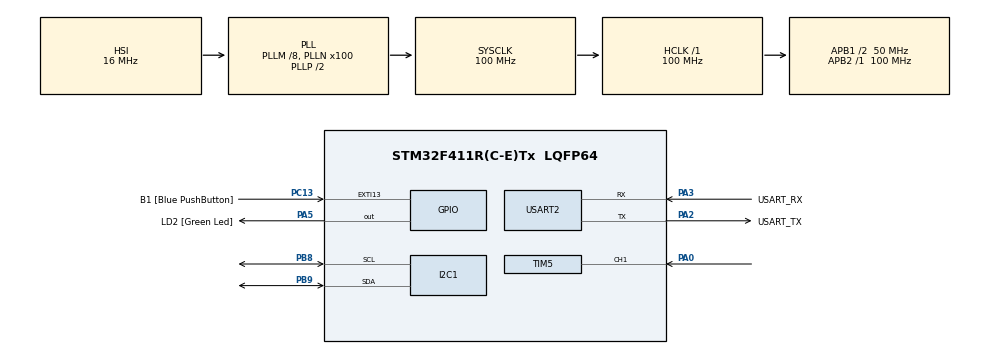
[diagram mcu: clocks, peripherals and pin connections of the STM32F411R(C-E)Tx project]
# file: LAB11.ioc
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Mcu.Family=STM32F4
PC15-OSC32_OUT.Mode=LSE-External-Oscillator
VP_TIM5_VS_ClockSourceINT.Mode=Internal
RCC.CortexFreq_Value=100000000
NVIC.I2C1_EV_IRQn=true\:0\:0\:false\:false\:true\:true\:true
PC13-ANTI_TAMP.GPIO_Label=B1 [Blue PushButton]
PA14.GPIO_Label=TCK
PH1\ -\ OSC_OUT.Mode=HSE-External-Clock-Source
RCC.APB1CLKDivider=RCC_HCLK_DIV2
PC14-OSC32_IN.Signal=RCC_OSC32_IN
RCC.SYSCLKSource=RCC_SYSCLKSOURCE_PLLCLK
ProjectManager.StackSize=0x400
PA0-WKUP.Signal=S_TIM5_CH1
PA13.Signal=SYS_JTMS-SWDIO
PA3.Mode=Asynchronous
PH0\ -\ OSC_IN.Mode=HSE-External-Clock-Source
PH0\ -\ OSC_IN.Signal=RCC_OSC_IN
ProjectManager.TargetToolchain=STM32CubeIDE
NVIC.TIM5_IRQn=true\:0\:0\:false\:false\:true\:true\:true
I2C1.I2C_Mode=I2C_Fast
RCC.HCLKFreq_Value=100000000
PB9.Mode=I2C
RCC.APB2TimFreq_Value=100000000
I2C1.AddressingMode=I2C_ADDRESSINGMODE_7BIT
PC15-OSC32_OUT.Signal=RCC_OSC32_OUT
RCC.AHBFreq_Value=100000000
PA5.Signal=GPIO_Output
RCC.HSE_VALUE=8000000
PH1\ -\ OSC_OUT.Signal=RCC_OSC_OUT
board=NUCLEO-F411RE
PC13-ANTI_TAMP.Signal=GPXTI13
RCC.VCOOutputFreq_Value=200000000
RCC.APB2Freq_Value=100000000
PC14-OSC32_IN.Mode=LSE-External-Oscillator
PA14.Mode=Serial_Wire
PA13.Mode=Serial_Wire
NVIC.I2C1_ER_IRQn=true\:0\:0\:false\:false\:true\:true\:true
TIM5.Channel-Input_Capture1_from_TI1=TIM_CHANNEL_1
Mcu.Name=STM32F411R(C-E)Tx
PA2.Signal=USART2_TX
PA13.GPIO_Label=TMS
RCC.FLatency-AdvancedSettings=FLASH_LATENCY_3
RCC.48MHZClocksFreq_Value=50000000
PB3.Signal=SYS_JTDO-SWO
RCC.SYSCLKFreq_VALUE=100000000
Mcu.Package=LQFP64
PB9.Signal=I2C1_SDA
PA5.GPIO_Label=LD2 [Green Led]
TIM5.Prescaler=99
USART2.VirtualMode=VM_ASYNC
PC13-ANTI_TAMP.GPIO_ModeDefaultEXTI=GPIO_MODE_IT_FALLING
PA2.GPIO_Label=USART_TX
PA14.Signal=SYS_JTCK-SWCLK
ProjectManager.HeapSize=0x200
RCC.HSI_VALUE=16000000
NVIC.PriorityGroup=NVIC_PRIORITYGROUP_0
RCC.PLLM=8
PB8.Mode=I2C
RCC.PLLN=100
RCC.APB1TimFreq_Value=100000000
PA2.Mode=Asynchronous
PB8.Signal=I2C1_SCL
SH.S_TIM5_CH1.0=TIM5_CH1,Input_Capture1_from_TI1
RCC.APB1Freq_Value=50000000
PA3.GPIO_Label=USART_RX
PA3.Signal=USART2_RX
PB3.GPIO_Label=SWO

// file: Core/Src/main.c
/* USER CODE BEGIN Header */
/**
 ******************************************************************************
 * @file           : main.c
 * @brief          : Main program body
 ******************************************************************************
 * @attention
 *
 * <h2><center>&copy; Copyright (c) 2021 STMicroelectronics.
 * All rights reserved.</center></h2>
 *
 * This software component is licensed by ST under BSD 3-Clause license,
 * the "License"; You may not use this file except in compliance with the
 * License. You may obtain a copy of the License at:
 *                        opensource.org/licenses/BSD-3-Clause
 *
 ******************************************************************************
 */
/* USER CODE END Header */
#include "main.h"

/* USER CODE BEGIN PD */
#define EEPROM_ADDR 0b10100000
#define IOEXPD_ADDR 0b01000000
/* USER CODE END PD */

I2C_HandleTypeDef hi2c1;

TIM_HandleTypeDef htim5;

UART_HandleTypeDef huart2;

/* USER CODE BEGIN PV */
uint8_t eepromExampleWriteFlag = 0;
uint8_t eepromExampleReadFlag = 0;
uint8_t IOExpdrExampleWriteFlag = 0;
uint8_t IOExpdrExampleReadFlag = 0;
uint8_t eepromDataReadBack[1];
uint8_t IOExpdrDataReadBack;
uint8_t lastDataReadBack;
uint8_t IOExpdrDataWrite = 0b01010101;

GPIO_PinState User_Button[2];
uint64_t _micros = 0;
uint64_t timestamp = 0;

uint64_t count = 0;
uint8_t number = 0;

/* USER CODE END PV */

void SystemClock_Config(void);
static void MX_GPIO_Init(void);
static void MX_USART2_UART_Init(void);
static void MX_I2C1_Init(void);
static void MX_TIM5_Init(void);
/* USER CODE BEGIN PFP */
void EEPROMWriteExample(uint8_t Wdata);
void EEPROMReadExample(uint8_t *Rdata);

void IOExpenderInit();
void IOExpenderReadPinA(uint8_t *Rdata);
void IOExpenderWritePinB(uint8_t Wdata);

int16_t UARTRecieveIT();
uint64_t micros();

/* USER CODE END PFP */

int main(void)
{

  /* MCU Configuration--------------------------------------------------------*/

  /* Reset of all peripherals, Initializes the Flash interface and the Systick. */
  HAL_Init();

  /* Configure the system clock */
  SystemClock_Config();

  /* Initialize all configured peripherals */
  MX_GPIO_Init();
  MX_USART2_UART_Init();
  MX_I2C1_Init();
  MX_TIM5_Init();
  /* USER CODE BEGIN 2 */
  HAL_Delay(100);
  IOExpenderInit();
  HAL_TIM_Base_Start_IT(&htim5);

  EEPROMReadExample(eepromDataReadBack);
  HAL_Delay(100);
  lastDataReadBack = eepromDataReadBack[0];
  IOExpdrDataReadBack = eepromDataReadBack[0];
  IOExpenderWritePinB(eepromDataReadBack[0]);
  /* USER CODE END 2 */

  /* Infinite loop */
  /* USER CODE BEGIN WHILE */
	while (1)
	{
		if(micros()-timestamp > 100)
		{
			timestamp = micros();
			User_Button[0] = HAL_GPIO_ReadPin(GPIOC, GPIO_PIN_13);
			if(User_Button[1] == GPIO_PIN_SET && User_Button[0] == GPIO_PIN_RESET && number == 0)
			{
				IOExpenderReadPinA(&IOExpdrDataReadBack);
				number += 1;
				HAL_Delay(10);
			}
			else if(hi2c1.State == HAL_I2C_STATE_READY && number == 1)
			{
				IOExpdrDataReadBack = (IOExpdrDataReadBack << 4) | 0b00001111;
				IOExpenderWritePinB(IOExpdrDataReadBack);
				number += 1;
				HAL_Delay(10);
			}
			else if(hi2c1.State == HAL_I2C_STATE_READY && number == 2)
			{
				if(lastDataReadBack != IOExpdrDataReadBack)
				{
					lastDataReadBack = IOExpdrDataReadBack;
					EEPROMWriteExample(IOExpdrDataReadBack);
					count += 1;
					HAL_Delay(10);
				}
				number += 1;
			}
			else if(hi2c1.State == HAL_I2C_STATE_READY && number == 3)
			{
				EEPROMReadExample(eepromDataReadBack);
				number = 0;
				HAL_Delay(10);
			}
			User_Button[1] = User_Button[0];
		}

    /* USER CODE END WHILE */

	}
}

void SystemClock_Config(void)
{
  RCC_OscInitTypeDef RCC_OscInitStruct = {0};
  RCC_ClkInitTypeDef RCC_ClkInitStruct = {0};

  /** Configure the main internal regulator output voltage
  */
  __HAL_RCC_PWR_CLK_ENABLE();
  __HAL_PWR_VOLTAGESCALING_CONFIG(PWR_REGULATOR_VOLTAGE_SCALE1);
  /** Initializes the RCC Oscillators according to the specified parameters
  * in the RCC_OscInitTypeDef structure.
  */
  RCC_OscInitStruct.OscillatorType = RCC_OSCILLATORTYPE_HSI;
  RCC_OscInitStruct.HSIState = RCC_HSI_ON;
  RCC_OscInitStruct.HSICalibrationValue = RCC_HSICALIBRATION_DEFAULT;
  RCC_OscInitStruct.PLL.PLLState = RCC_PLL_ON;
  RCC_OscInitStruct.PLL.PLLSource = RCC_PLLSOURCE_HSI;
  RCC_OscInitStruct.PLL.PLLM = 8;
  RCC_OscInitStruct.PLL.PLLN = 100;
  RCC_OscInitStruct.PLL.PLLP = RCC_PLLP_DIV2;
  RCC_OscInitStruct.PLL.PLLQ = 4;
  if (HAL_RCC_OscConfig(&RCC_OscInitStruct) != HAL_OK)
  {
    Error_Handler();
  }
  /** Initializes the CPU, AHB and APB buses clocks
  */
  RCC_ClkInitStruct.ClockType = RCC_CLOCKTYPE_HCLK|RCC_CLOCKTYPE_SYSCLK
                              |RCC_CLOCKTYPE_PCLK1|RCC_CLOCKTYPE_PCLK2;
  RCC_ClkInitStruct.SYSCLKSource = RCC_SYSCLKSOURCE_PLLCLK;
  RCC_ClkInitStruct.AHBCLKDivider = RCC_SYSCLK_DIV1;
  RCC_ClkInitStruct.APB1CLKDivider = RCC_HCLK_DIV2;
  RCC_ClkInitStruct.APB2CLKDivider = RCC_HCLK_DIV1;

  if (HAL_RCC_ClockConfig(&RCC_ClkInitStruct, FLASH_LATENCY_3) != HAL_OK)
  {
    Error_Handler();
  }
}

static void MX_I2C1_Init(void)
{

  hi2c1.Instance = I2C1;
  hi2c1.Init.ClockSpeed = 400000;
  hi2c1.Init.DutyCycle = I2C_DUTYCYCLE_2;
  hi2c1.Init.OwnAddress1 = 0;
  hi2c1.Init.AddressingMode = I2C_ADDRESSINGMODE_7BIT;
  hi2c1.Init.DualAddressMode = I2C_DUALADDRESS_DISABLE;
  hi2c1.Init.OwnAddress2 = 0;
  hi2c1.Init.GeneralCallMode = I2C_GENERALCALL_DISABLE;
  hi2c1.Init.NoStretchMode = I2C_NOSTRETCH_DISABLE;
  if (HAL_I2C_Init(&hi2c1) != HAL_OK)
  {
    Error_Handler();
  }

}

static void MX_TIM5_Init(void)
{

  TIM_ClockConfigTypeDef sClockSourceConfig = {0};
  TIM_MasterConfigTypeDef sMasterConfig = {0};
  TIM_IC_InitTypeDef sConfigIC = {0};

  htim5.Instance = TIM5;
  htim5.Init.Prescaler = 99;
  htim5.Init.CounterMode = TIM_COUNTERMODE_UP;
  htim5.Init.Period = 4294967295;
  htim5.Init.ClockDivision = TIM_CLOCKDIVISION_DIV1;
  htim5.Init.AutoReloadPreload = TIM_AUTORELOAD_PRELOAD_DISABLE;
  if (HAL_TIM_Base_Init(&htim5) != HAL_OK)
  {
    Error_Handler();
  }
  sClockSourceConfig.ClockSource = TIM_CLOCKSOURCE_INTERNAL;
  if (HAL_TIM_ConfigClockSource(&htim5, &sClockSourceConfig) != HAL_OK)
  {
    Error_Handler();
  }
  if (HAL_TIM_IC_Init(&htim5) != HAL_OK)
  {
    Error_Handler();
  }
  sMasterConfig.MasterOutputTrigger = TIM_TRGO_RESET;
  sMasterConfig.MasterSlaveMode = TIM_MASTERSLAVEMODE_DISABLE;
  if (HAL_TIMEx_MasterConfigSynchronization(&htim5, &sMasterConfig) != HAL_OK)
  {
    Error_Handler();
  }
  sConfigIC.ICPolarity = TIM_INPUTCHANNELPOLARITY_RISING;
  sConfigIC.ICSelection = TIM_ICSELECTION_DIRECTTI;
  sConfigIC.ICPrescaler = TIM_ICPSC_DIV1;
  sConfigIC.ICFilter = 0;
  if (HAL_TIM_IC_ConfigChannel(&htim5, &sConfigIC, TIM_CHANNEL_1) != HAL_OK)
  {
    Error_Handler();
  }

}

static void MX_USART2_UART_Init(void)
{

  huart2.Instance = USART2;
  huart2.Init.BaudRate = 115200;
  huart2.Init.WordLength = UART_WORDLENGTH_8B;
  huart2.Init.StopBits = UART_STOPBITS_1;
  huart2.Init.Parity = UART_PARITY_NONE;
  huart2.Init.Mode = UART_MODE_TX_RX;
  huart2.Init.HwFlowCtl = UART_HWCONTROL_NONE;
  huart2.Init.OverSampling = UART_OVERSAMPLING_16;
  if (HAL_UART_Init(&huart2) != HAL_OK)
  {
    Error_Handler();
  }

}

static void MX_GPIO_Init(void)
{
  GPIO_InitTypeDef GPIO_InitStruct = {0};

  /* GPIO Ports Clock Enable */
  __HAL_RCC_GPIOC_CLK_ENABLE();
  __HAL_RCC_GPIOH_CLK_ENABLE();
  __HAL_RCC_GPIOA_CLK_ENABLE();
  __HAL_RCC_GPIOB_CLK_ENABLE();

  /*Configure GPIO pin Output Level */
  HAL_GPIO_WritePin(LD2_GPIO_Port, LD2_Pin, GPIO_PIN_RESET);

  /*Configure GPIO pin : B1_Pin */
  GPIO_InitStruct.Pin = B1_Pin;
  GPIO_InitStruct.Mode = GPIO_MODE_IT_FALLING;
  GPIO_InitStruct.Pull = GPIO_NOPULL;
  HAL_GPIO_Init(B1_GPIO_Port, &GPIO_InitStruct);

  /*Configure GPIO pin : LD2_Pin */
  GPIO_InitStruct.Pin = LD2_Pin;
  GPIO_InitStruct.Mode = GPIO_MODE_OUTPUT_PP;
  GPIO_InitStruct.Pull = GPIO_NOPULL;
  GPIO_InitStruct.Speed = GPIO_SPEED_FREQ_LOW;
  HAL_GPIO_Init(LD2_GPIO_Port, &GPIO_InitStruct);

}

/* USER CODE BEGIN 4 */
void HAL_TIM_PeriodElapsedCallback(TIM_HandleTypeDef *htim)
{
	if(htim == &htim5)
	{
		_micros += 4294967295;
	}
}

uint64_t micros()
{
	return (_micros + htim5.Instance->CNT);//counter of Timer 5
}

void EEPROMWriteExample(uint8_t Wdata) {
	if (hi2c1.State == HAL_I2C_STATE_READY) {

		static uint8_t data;
		data = Wdata;
		HAL_I2C_Mem_Write_IT(&hi2c1, EEPROM_ADDR, 0x59, I2C_MEMADD_SIZE_16BIT,
				&data, 1);

	}
}
void EEPROMReadExample(uint8_t *Rdata) {
	if (hi2c1.State == HAL_I2C_STATE_READY) {

		HAL_I2C_Mem_Read_IT(&hi2c1, EEPROM_ADDR, 0x59, I2C_MEMADD_SIZE_16BIT,
				Rdata, 1);
	}
}
void IOExpenderInit() {
	//Init All
	static uint8_t Setting[0x16] = { 0xFF, 0x00, 0x00, 0x00, 0x00, 0x00, 0x00,
			0x00, 0x00, 0x00, 0x00, 0x00, 0xFF, 0x00, 0x00, 0x00, 0x00, 0x00,
			0x00, 0x00, 0x00, 0x00 };
	HAL_I2C_Mem_Write(&hi2c1, IOEXPD_ADDR, 0x00, I2C_MEMADD_SIZE_8BIT, Setting,
			0x16, 100);
}
void IOExpenderReadPinA(uint8_t *Rdata) {
	if (hi2c1.State == HAL_I2C_STATE_READY) {
		HAL_I2C_Mem_Read_IT(&hi2c1, IOEXPD_ADDR, 0x12, I2C_MEMADD_SIZE_8BIT,
				Rdata, 1);
	}
}
void IOExpenderWritePinB(uint8_t Wdata) {
	if (hi2c1.State == HAL_I2C_STATE_READY) {
		static uint8_t data;
		data = Wdata;
		HAL_I2C_Mem_Write_IT(&hi2c1, IOEXPD_ADDR, 0x15, I2C_MEMADD_SIZE_8BIT,
				&data, 1);
	}
}
/* USER CODE END 4 */

void Error_Handler(void)
{
	__disable_irq();
	while (1) {
	}
}

/************************ (C) COPYRIGHT STMicroelectronics *****END OF FILE****/
